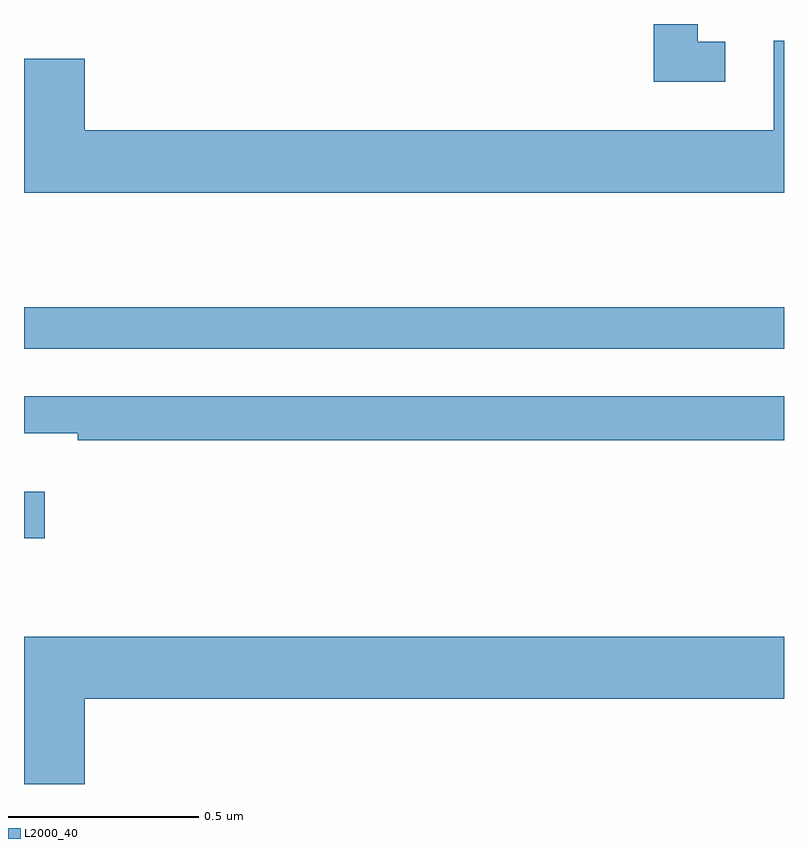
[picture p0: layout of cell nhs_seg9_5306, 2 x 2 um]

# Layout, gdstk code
import gdstk
lib = gdstk.Library(unit=1e-6, precision=1e-09)
def R(c, l, rs):  # rectangles x0, y0, x1, y1
    for r in rs: c.add(gdstk.rectangle(r[:2], r[2:], *l))
def P(c, l, *ps):  # polygons
    for p in ps: c.add(gdstk.Polygon(p, *l))
L2000_40 = (2000, 40)

nhs_seg9_5306 = lib.new_cell('nhs_seg9_5306')
R(nhs_seg9_5306, L2000_40, [(177,1226.147,177.055,1226.269), (177,1226.646,179,1226.755)])
P(nhs_seg9_5306, L2000_40, [(178.846,1227.453),(178.773,1227.453),(178.773,1227.5),(178.657,1227.5),(178.657,1227.348),(178.846,1227.348)],
  [(179,1227.456),(178.973,1227.456),(178.973,1227.22),(177.16,1227.22),(177.16,1227.409),(177,1227.409),(177,1227.056),(179,1227.056)],
  [(179,1226.52),(177,1226.52),(177,1226.423),(177.142,1226.423),(177.142,1226.404),(179,1226.404)],
  [(177.16,1225.724),(179,1225.724),(179,1225.888),(177,1225.888),(177,1225.5),(177.16,1225.5)])

lib.write_gds('nhs_seg9_5306.gds')
